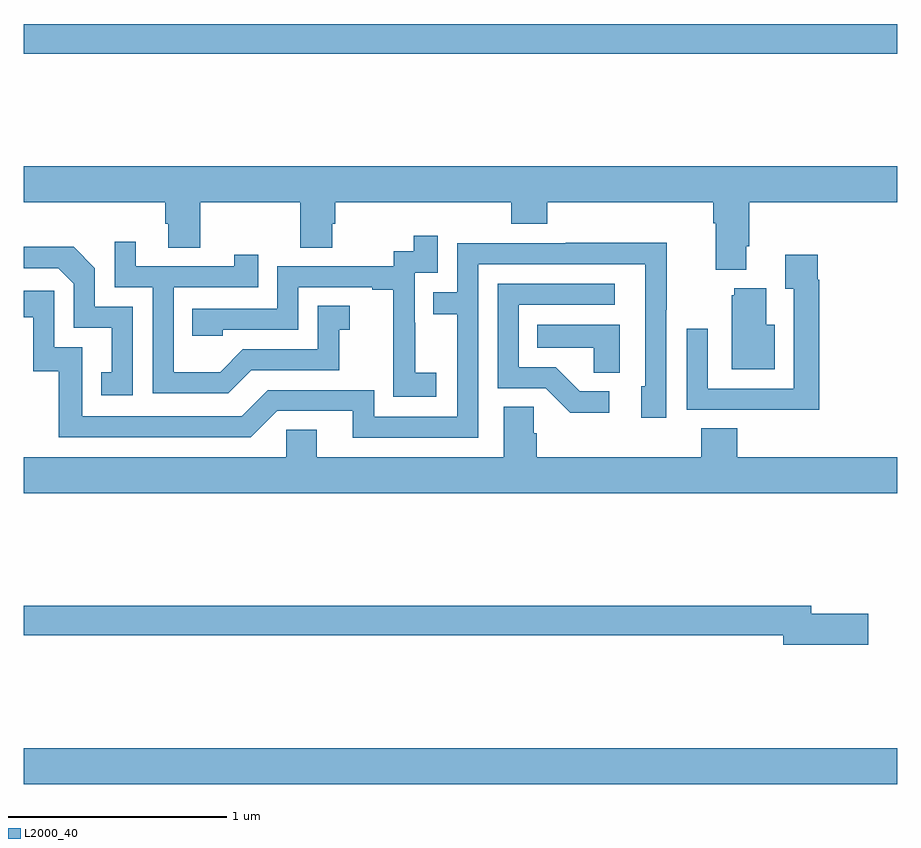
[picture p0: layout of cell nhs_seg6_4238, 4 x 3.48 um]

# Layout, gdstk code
import gdstk
lib = gdstk.Library(unit=1e-6, precision=1e-09)
def R(c, l, rs):  # rectangles x0, y0, x1, y1
    for r in rs: c.add(gdstk.rectangle(r[:2], r[2:], *l))
def P(c, l, *ps):  # polygons
    for p in ps: c.add(gdstk.Polygon(p, *l))
L2000_40 = (2000, 40)

nhs_seg6_4238 = lib.new_cell('nhs_seg6_4238')
R(nhs_seg6_4238, L2000_40, [(361,946.004,365,946.168), (361,949.348,365,949.484)])
P(nhs_seg6_4238, L2000_40, [(364.309,948.466),(364.322,948.466),(364.322,948.668),(365,948.668),(365,948.832),(361,948.832),(361,948.668),(361.649,948.668),(361.649,948.57),(361.661,948.57),(361.661,948.46),(361.809,948.46),(361.809,948.668),(362.266,948.668),(362.266,948.46),(362.413,948.46),(362.413,948.57),(362.426,948.57),(362.426,948.668),(363.233,948.668),(363.233,948.569),(363.398,948.569),(363.398,948.668),(364.157,948.668),(364.157,948.572),(364.169,948.572),(364.169,948.359),(364.309,948.359)],
  [(362.89,947.887),(362.792,947.887),(362.792,948.116),(362.79,948.116),(362.79,948.345),(362.895,948.345),(362.895,948.514),(362.787,948.514),(362.787,948.444),(362.694,948.444),(362.694,948.375),(362.16,948.375),(362.16,948.18),(361.771,948.18),(361.771,948.057),(361.911,948.057),(361.911,948.084),(362.256,948.084),(362.256,948.279),(362.597,948.279),(362.597,948.267),(362.693,948.267),(362.693,947.983),(362.692,947.983),(362.692,947.777),(362.89,947.777)],
  [(362.041,947.898),(362.445,947.898),(362.445,948.083),(362.494,948.083),(362.494,948.193),(362.346,948.193),(362.346,947.994),(362.004,947.994),(361.9,947.89),(361.686,947.89),(361.686,948.279),(362.075,948.279),(362.075,948.427),(361.964,948.427),(361.964,948.375),(361.513,948.375),(361.513,948.487),(361.416,948.487),(361.416,948.279),(361.59,948.279),(361.59,947.793),(361.936,947.793)],
  [(363.081,948.384),(363.846,948.384),(363.846,947.826),(363.827,947.826),(363.827,947.682),(363.942,947.682),(363.942,948.175),(363.945,948.175),(363.945,948.482),(363.481,948.482),(363.481,948.48),(362.985,948.48),(362.985,948.255),(362.875,948.255),(362.875,948.154),(362.985,948.154),(362.985,947.685),(362.604,947.685),(362.604,947.808),(362.118,947.808),(361.998,947.688),(361.269,947.688),(361.269,948.003),(361.14,948.003),(361.14,948.262),(361,948.262),(361,948.141),(361.043,948.141),(361.043,947.895),(361.161,947.895),(361.161,947.592),(362.04,947.592),(362.16,947.712),(362.507,947.712),(362.507,947.589),(363.081,947.589)],
  [(361.5,948.189),(361.326,948.189),(361.326,948.366),(361.228,948.464),(361,948.464),(361,948.366),(361.158,948.366),(361.23,948.294),(361.23,948.093),(361.403,948.093),(361.403,947.889),(361.354,947.889),(361.354,947.784),(361.5,947.784)],
  [(364.643,948.314),(364.636,948.314),(364.636,948.427),(364.487,948.427),(364.487,948.271),(364.527,948.271),(364.527,947.814),(364.131,947.814),(364.131,948.088),(364.035,948.088),(364.035,947.718),(364.351,947.718),(364.351,947.717),(364.643,947.717)],
  [(363.682,947.802),(363.547,947.802),(363.436,947.913),(363.267,947.913),(363.267,948.198),(363.706,948.198),(363.706,948.294),(363.171,948.294),(363.171,947.817),(363.39,947.817),(363.503,947.705),(363.682,947.705)],
  [(364.438,948.106),(364.399,948.106),(364.399,948.274),(364.253,948.274),(364.253,948.243),(364.241,948.243),(364.241,947.903),(364.438,947.903)],
  [(363.73,948.106),(363.352,948.106),(363.352,948.002),(363.609,948.002),(363.609,947.887),(363.73,947.887)],
  [(365,947.5),(364.268,947.5),(364.268,947.633),(364.103,947.633),(364.103,947.5),(363.35,947.5),(363.35,947.609),(363.336,947.609),(363.336,947.732),(363.197,947.732),(363.197,947.5),(362.341,947.5),(362.341,947.627),(362.202,947.627),(362.202,947.5),(361,947.5),(361,947.336),(365,947.336)],
  [(364.867,946.784),(364.606,946.784),(364.606,946.82),(361,946.82),(361,946.684),(364.478,946.684),(364.478,946.642),(364.867,946.642)])

lib.write_gds('nhs_seg6_4238.gds')
